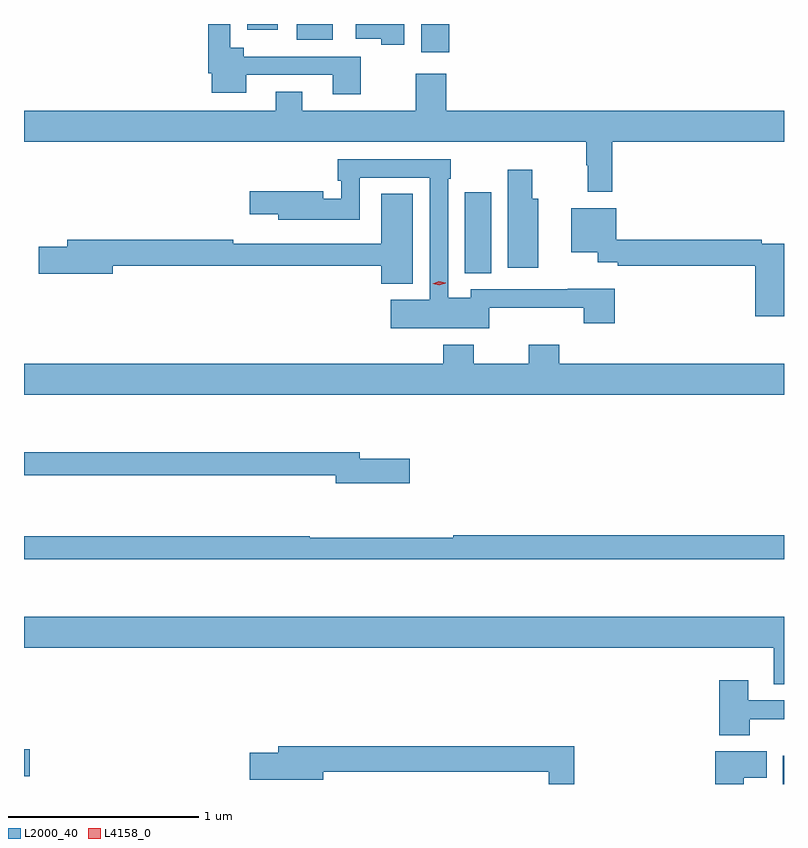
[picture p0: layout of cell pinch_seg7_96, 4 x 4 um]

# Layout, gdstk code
import gdstk
lib = gdstk.Library(unit=1e-6, precision=1e-09)
def R(c, l, rs):  # rectangles x0, y0, x1, y1
    for r in rs: c.add(gdstk.rectangle(r[:2], r[2:], *l))
def P(c, l, *ps):  # polygons
    for p in ps: c.add(gdstk.Polygon(p, *l))
L2000_40 = (2000, 40)
L4158_0 = (4158, 0)

pinch_seg7_96 = lib.new_cell('pinch_seg7_96')
R(pinch_seg7_96, L2000_40, [(955.353,1030.536,955.36,1030.684), (951.36,1030.576,951.391,1030.718), (953.681,1033.225,953.818,1033.651), (953.45,1034.388,953.597,1034.536), (952.796,1034.453,952.984,1034.536), (952.535,1034.507,952.696,1034.536)])
P(pinch_seg7_96, L2000_40, [(953.362,1034.536),(953.105,1034.536),(953.105,1034.459),(953.24,1034.459),(953.24,1034.426),(953.362,1034.426)],
  [(953.133,1034.364),(952.516,1034.364),(952.516,1034.41),(952.446,1034.41),(952.446,1034.536),(952.33,1034.536),(952.33,1034.278),(952.349,1034.278),(952.349,1034.174),(952.531,1034.174),(952.531,1034.268),(952.985,1034.268),(952.985,1034.166),(953.133,1034.166)],
  [(954.455,1033.916),(955.36,1033.916),(955.36,1034.08),(953.582,1034.08),(953.582,1034.275),(953.422,1034.275),(953.422,1034.08),(952.825,1034.08),(952.825,1034.179),(952.685,1034.179),(952.685,1034.08),(951.36,1034.08),(951.36,1033.916),(954.319,1033.916),(954.319,1033.793),(954.327,1033.793),(954.327,1033.653),(954.455,1033.653)],
  [(953.808,1033.043),(954.305,1033.043),(954.305,1032.96),(954.47,1032.96),(954.47,1033.142),(954.221,1033.142),(954.221,1033.14),(953.712,1033.14),(953.712,1033.096),(953.592,1033.096),(953.592,1033.721),(953.605,1033.721),(953.605,1033.824),(953.011,1033.824),(953.011,1033.71),(953.031,1033.71),(953.031,1033.615),(952.936,1033.615),(952.936,1033.657),(952.548,1033.657),(952.548,1033.535),(952.697,1033.535),(952.697,1033.506),(953.127,1033.506),(953.127,1033.728),(953.496,1033.728),(953.496,1033.084),(953.289,1033.084),(953.289,1032.935),(953.808,1032.935)],
  [(954.067,1033.615),(954.036,1033.615),(954.036,1033.768),(953.906,1033.768),(953.906,1033.254),(954.067,1033.254)],
  [(953.407,1033.643),(953.24,1033.643),(953.24,1033.38),(952.46,1033.38),(952.46,1033.4),(951.587,1033.4),(951.587,1033.364),(951.438,1033.364),(951.438,1033.222),(951.826,1033.222),(951.826,1033.264),(953.24,1033.264),(953.24,1033.169),(953.407,1033.169)],
  [(955.36,1033.38),(955.244,1033.38),(955.244,1033.4),(954.477,1033.4),(954.477,1033.567),(954.239,1033.567),(954.239,1033.334),(954.381,1033.334),(954.381,1033.283),(954.484,1033.283),(954.484,1033.264),(955.208,1033.264),(955.208,1032.999),(955.36,1032.999)],
  [(955.36,1032.748),(954.176,1032.748),(954.176,1032.847),(954.016,1032.847),(954.016,1032.748),(953.727,1032.748),(953.727,1032.847),(953.567,1032.847),(953.567,1032.748),(951.36,1032.748),(951.36,1032.584),(955.36,1032.584)],
  [(953.389,1032.249),(953.128,1032.249),(953.128,1032.283),(951.36,1032.283),(951.36,1032.162),(953,1032.162),(953,1032.119),(953.389,1032.119)],
  [(955.36,1031.846),(953.62,1031.846),(953.62,1031.831),(952.865,1031.831),(952.865,1031.839),(951.36,1031.839),(951.36,1031.718),(955.36,1031.718)],
  [(955.36,1031.416),(951.36,1031.416),(951.36,1031.252),(955.307,1031.252),(955.307,1031.062),(955.36,1031.062)],
  [(955.179,1030.878),(955.36,1030.878),(955.36,1030.977),(955.171,1030.977),(955.171,1031.083),(955.019,1031.083),(955.019,1030.793),(955.179,1030.793)],
  [(954.257,1030.736),(952.697,1030.736),(952.697,1030.7),(952.548,1030.7),(952.548,1030.558),(952.936,1030.558),(952.936,1030.6),(954.121,1030.6),(954.121,1030.536),(954.257,1030.536)],
  [(955.147,1030.57),(955.268,1030.57),(955.268,1030.708),(954.998,1030.708),(954.998,1030.536),(955.147,1030.536)])
P(pinch_seg7_96, L4158_0, [(953.545,1033.161),(953.51,1033.17),(953.51,1033.17),(953.51,1033.17),(953.544,1033.181),(953.579,1033.173),(953.58,1033.172),(953.579,1033.172)])

lib.write_gds('pinch_seg7_96.gds')
